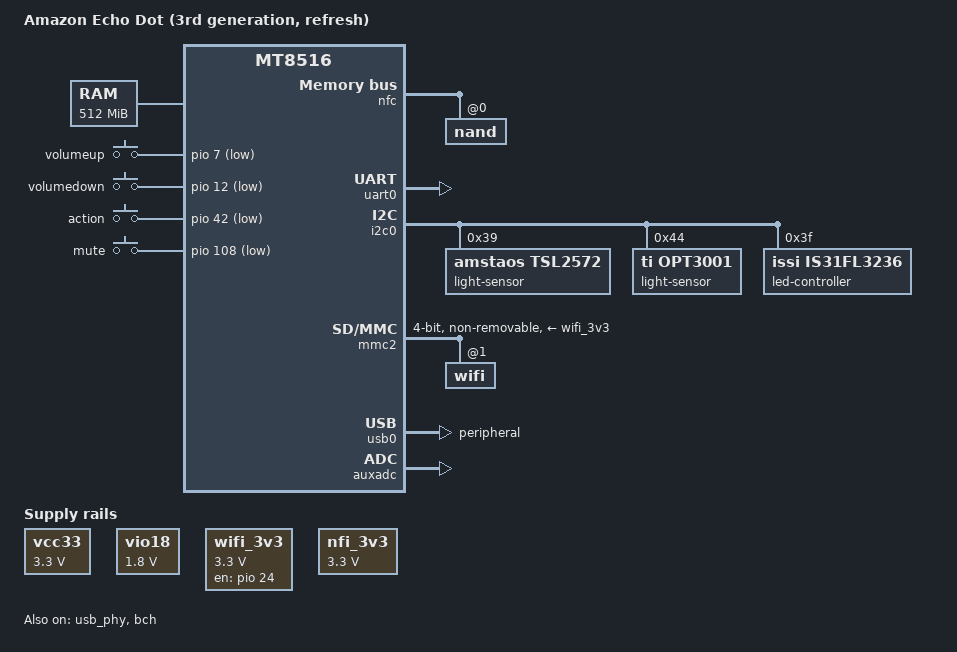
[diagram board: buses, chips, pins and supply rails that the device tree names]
// SPDX-License-Identifier: (GPL-2.0 OR MIT)
/*
 * Amazon Echo Dot (3rd generation, refresh), codename "crumpet".
 *
 * Structurally modeled on the donut and lidar board files of the same
 * MT8516 boot family (the audio section lives in
 * mt8516-amazon-crumpet-audio.dtsi, as in those layers); SoC truth comes
 * from the shared mt8516.dtsi of the v7.3 base, which already carries the
 * AFE node and the MSDC2 clock fix.  Board truth is the DTB the retail
 * unit boots, decompiled at probe-out/crumpet-dtb/crumpet-mp-prq.dts
 * (in-repo copy: reference/crumpet-mp-prq-stock.dts), with the NAND
 * clock wiring from reference/crumpet-nfi-register-map.md §5 and the
 * audio graph from reference/crumpet-audio-forensics.md §2-§4 and
 * reference/crumpet-codec-deltas.md.
 *
 * Storage: this board boots from raw NAND (Macronix MX30LF4G28AD, 4 GiB,
 * 4096+256 B/page) driven by the NFI controller at 0x11001000 plus the
 * ECC block at 0x11002000; there is no eMMC (stock mmc@11120000 is
 * disabled and the pads are reused by the NAND bus).
 *
 * Power: no MT6392 PMIC consumers are described (stock pwrap is
 * disabled, same as donut/lidar); every modeled rail is fixed.  The
 * Vproc buck (Richtek RT5738L on i2c1) has no mainline binding and no
 * proc-supply is wired (donut precedent, M0/C4 evidence may add one).
 */

/dts-v1/;

#include <dt-bindings/gpio/gpio.h>
#include <dt-bindings/input/input.h>
#include "mt8516.dtsi"

/ {
	model = "Amazon Echo Dot (3rd generation, refresh)";
	/*
	 * Root compatible mirrors the stock DTB exactly
	 * (crumpet-mp-prq.dts:5); Amazon LK only hands the kernel a DTB
	 * whose first compatible matches the board revision
	 * ("amzn,crumpet-mp-prq" on retail MP/PRQ units).
	 */
	compatible = "amzn,crumpet-mp-prq", "amzn,crumpet", "mediatek,mt8516";
	chassis-type = "embedded";

	aliases {
		serial0 = &uart0;
		/* the SDIO function of the WiFi combo is the only MMC user */
		mmc0 = &mmc2;
	};

	chosen {
		stdout-path = "serial0:921600n8";
		/* stock bootargs: console=ttyS0,921600n1 (crumpet-mp-prq.dts:2276);
		 * the bootloader passes the real command line
		 */
	};

	memory@40000000 {
		device_type = "memory";
		/* 512 MB as in the stock DTB (crumpet-mp-prq.dts:2270-2273) */
		reg = <0 0x40000000 0 0x20000000>;
	};

	/*
	 * Previous boot's console and oops log (pstore).  Same window
	 * layout as donut: mainline U-Boot loads kernel, DTB and
	 * initramfs into 0x44000000-0x56000000 (the vendor crash area at
	 * 0x44400000 lives inside it, crumpet-mp-prq.dts:152-178), LK
	 * relocates itself to the top of RAM on a warm reboot, and 16 MiB
	 * are left as headroom there.  The BL31 reservation at 0x43000000
	 * comes from mt8516.dtsi.
	 */
	reserved-memory {
		#address-cells = <2>;
		#size-cells = <2>;
		ranges;

		ramoops@5f000000 {
			compatible = "ramoops";
			reg = <0 0x5f000000 0 0x100000>;
			record-size = <0x20000>;
			console-size = <0x80000>;
			pmsg-size = <0x20000>;
		};
	};

	/*
	 * Amazon's BL31 does not give the kernel access to the PMU
	 * registers, so the armv8_pmu probe hangs (same firmware as
	 * donut/lidar; stock pmu node at crumpet-mp-prq.dts:180-184).
	 */
	pmu {
		status = "disabled";
	};

	vcc33: regulator-vcc33 {
		compatible = "regulator-fixed";
		regulator-name = "vcc33";
		regulator-min-microvolt = <3300000>;
		regulator-max-microvolt = <3300000>;
		regulator-always-on;
		regulator-boot-on;
	};

	vio18: regulator-vio18 {
		compatible = "regulator-fixed";
		regulator-name = "vio18";
		regulator-min-microvolt = <1800000>;
		regulator-max-microvolt = <1800000>;
		regulator-always-on;
		regulator-boot-on;
	};

	/*
	 * MT7668 Wi-Fi/BT combo power: PMU_EN on GPIO24.  The stock DTB
	 * drives the fixed regulator sdio_fixed_3v3 from pio 24 with a
	 * 500 ms startup delay (crumpet-mp-prq.dts:2299-2308) and the
	 * vendor sdio node repeats the line as mt76x8_pmu_en_gpio
	 * (:1628-1643); GPIO24 is the only mainline consumer of PMU_EN.
	 * The vendor connectivity-combo node (:2404-2430) additionally
	 * names pio 48 (PMU_EN2) for the 4.4-only consys framework, which
	 * has no mainline equivalent - same wiring situation as donut.
	 */
	wifi_3v3: regulator-wifi-3v3 {
		compatible = "regulator-fixed";
		regulator-name = "wifi_3v3";
		regulator-min-microvolt = <3300000>;
		regulator-max-microvolt = <3300000>;
		gpio = <&pio 24 GPIO_ACTIVE_HIGH>;
		enable-active-high;
		startup-delay-us = <500000>;
		/* vendor driver holds PMU_EN low 5 ms when resetting the chip */
		off-on-delay-us = <5000>;
		pinctrl-names = "default";
		pinctrl-0 = <&wifi_pmu_en_pins>;
	};

	/*
	 * NAND flash supply, fixed 3.3 V "nfi_power" of the stock DTB
	 * (crumpet-mp-prq.dts:2217-2224); the vcc-supply consumer below
	 * is the stock nfc@ node's own reference (:1281).
	 */
	nfi_3v3: regulator-nfi-3v3 {
		compatible = "regulator-fixed";
		regulator-name = "nfi_power";
		regulator-min-microvolt = <3300000>;
		regulator-max-microvolt = <3300000>;
		regulator-boot-on;
	};

	gpio-keys {
		compatible = "gpio-keys";
		pinctrl-names = "default";
		pinctrl-0 = <&gpio_keys_pins>, <&board_hog_pins>;

		key-volume-up {
			label = "volumeup";
			gpios = <&pio 7 GPIO_ACTIVE_LOW>;
			linux,code = <KEY_VOLUMEUP>;
			debounce-interval = <50>;
			wakeup-source;
		};

		key-volume-down {
			label = "volumedown";
			gpios = <&pio 12 GPIO_ACTIVE_LOW>;
			linux,code = <KEY_VOLUMEDOWN>;
			debounce-interval = <50>;
			wakeup-source;
		};

		key-action {
			label = "action";
			gpios = <&pio 42 GPIO_ACTIVE_LOW>;
			/* as stock: KEY_HELP (0x8a = 138) */
			linux,code = <KEY_HELP>;
			debounce-interval = <50>;
			wakeup-source;
		};

		/*
		 * The microphone mute button drives a hardware latch that
		 * cuts the microphones; software can only observe it.  On
		 * this board the latched state sits on GPIO108 (stock
		 * gpio-privacy state-gpios, crumpet-mp-prq.dts:2433; donut
		 * used GPIO18 for the same role) and the vendor emits code
		 * 113 (KEY_MUTE, debounce 200 ms) when it changes
		 * (:2435-2440).  GPIO107 (active low, stock enable-gpio
		 * :2434) would let software force privacy mode on; it is
		 * kept released (driven high, see board_hog_pins) and there
		 * is deliberately no path that models an unmute: only the
		 * button unlatches.
		 */
		key-mute {
			label = "mute";
			gpios = <&pio 108 GPIO_ACTIVE_LOW>;
			linux,code = <KEY_MUTE>;
			debounce-interval = <200>;
			wakeup-source;
		};
	};
};

&pio {
	/*
	 * Board-level line defaults applied through the gpio-keys and LED
	 * controller pinctrl states; the lines stay unclaimed afterwards.
	 */
	board_hog_pins: board-hog-pins {
		pins-privacy-enable {
			/*
			 * GPIO107 (active low) lets software force privacy
			 * mode on; keep it released so the latch is only
			 * ever driven by the mute button.
			 */
			pinmux = <MT8516_PIN_107_MSDC1_DAT1__FUNC_GPIO107>;
			output-high;
		};
	};

	led_sdb_pins: led-sdb-pins {
		pins-led-sdb {
			/* IS31FL3236 SDB: low = hardware shutdown */
			pinmux = <MT8516_PIN_4_EINT4__FUNC_GPIO4>;
			output-high;
		};
	};

	gpio_keys_pins: gpio-keys-pins {
		pins-keys {
			/*
			 * Volume and action buttons; stock gpiodefault
			 * (crumpet-mp-prq.dts:483-491) muxed pins 7 and 12
			 * with R1R0_01 pulls - pin 42 (action) was left at
			 * its reset default there and is muxed explicitly
			 * here.
			 */
			pinmux = <MT8516_PIN_7_EINT7__FUNC_GPIO7>,
				 <MT8516_PIN_12_EINT12__FUNC_GPIO12>,
				 <MT8516_PIN_42_KPCOL0__FUNC_GPIO42>;
			bias-pull-up = <MTK_PUPD_SET_R1R0_01>;
			input-enable;
		};

		pins-mute-latch {
			pinmux = <MT8516_PIN_108_MSDC1_DAT2__FUNC_GPIO108>;
			bias-disable;
			input-enable;
		};
	};

	i2c0_pins: i2c0-pins {
		pins-bus {
			pinmux = <MT8516_PIN_58_SDA0__FUNC_SDA0_0>,
				 <MT8516_PIN_59_SCL0__FUNC_SCL0_0>;
			bias-disable;
		};
	};

	i2c2_pins: i2c2-pins {
		pins-bus {
			pinmux = <MT8516_PIN_60_SDA2__FUNC_SDA2_0>,
				 <MT8516_PIN_61_SCL2__FUNC_SCL2_0>;
			bias-disable;
		};
	};

	/*
	 * Raw NAND bus, the stock nfidefault group
	 * (crumpet-mp-prq.dts:611-640): 8-bit data on NLD0..NLD7 (the
	 * MSDC0 pads - no eMMC on this board), latches on NALE/NCLE,
	 * writes/reads on NWEB/NREB, chip enable NCEB0 and ready/busy
	 * NRNB on the EINT pins.  Drive strength 4 and the stock pull
	 * selection are kept verbatim.
	 */
	nfi_pins: nfi-pins {
		pins-dat {
			pinmux = <MT8516_PIN_110_MSDC0_DAT7__FUNC_NLD7>,
				 <MT8516_PIN_111_MSDC0_DAT6__FUNC_NLD6>,
				 <MT8516_PIN_112_MSDC0_DAT5__FUNC_NLD4>,
				 <MT8516_PIN_113_MSDC0_DAT4__FUNC_NLD3>,
				 <MT8516_PIN_114_MSDC0_RSTB__FUNC_NLD0>,
				 <MT8516_PIN_117_MSDC0_DAT3__FUNC_NLD1>,
				 <MT8516_PIN_118_MSDC0_DAT2__FUNC_NLD5>,
				 <MT8516_PIN_120_MSDC0_DAT0__FUNC_NLD2>;
			input-enable;
			drive-strength = <4>;
			bias-pull-up;
		};

		pins-cmd {
			pinmux = <MT8516_PIN_16_EINT16__FUNC_NCEB0>,
				 <MT8516_PIN_17_EINT17__FUNC_NREB>,
				 <MT8516_PIN_21_EINT21__FUNC_NRNB>,
				 <MT8516_PIN_116_MSDC0_CLK__FUNC_NWEB>;
			drive-strength = <4>;
			bias-pull-up = <MTK_PUPD_SET_R1R0_10>;
		};

		pins-ale-cle {
			pinmux = <MT8516_PIN_14_EINT14__FUNC_NCLE>,
				 <MT8516_PIN_115_MSDC0_CMD__FUNC_NALE>;
			drive-strength = <4>;
			bias-pull-down = <MTK_PUPD_SET_R1R0_10>;
		};
	};

	mmc2_pins_default: mmc2-default-pins {
		pins-cmd-dat {
			pinmux = <MT8516_PIN_70_MSDC2_DAT0__FUNC_MSDC2_DAT0>,
				 <MT8516_PIN_71_MSDC2_DAT1__FUNC_MSDC2_DAT1>,
				 <MT8516_PIN_72_MSDC2_DAT2__FUNC_MSDC2_DAT2>,
				 <MT8516_PIN_73_MSDC2_DAT3__FUNC_MSDC2_DAT3>,
				 <MT8516_PIN_68_MSDC2_CMD__FUNC_MSDC2_CMD>;
			input-enable;
			drive-strength = <8>;
			bias-pull-up = <MTK_PUPD_SET_R1R0_10>;
		};

		pins-clk {
			pinmux = <MT8516_PIN_69_MSDC2_CLK__FUNC_MSDC2_CLK>;
			drive-strength = <8>;
			bias-pull-down = <MTK_PUPD_SET_R1R0_10>;
		};
	};

	uart0_pins: uart0-pins {
		pins-rx {
			pinmux = <MT8516_PIN_62_URXD0__FUNC_URXD0>;
			bias-pull-up;
		};

		pins-tx {
			pinmux = <MT8516_PIN_63_UTXD0__FUNC_UTXD0>;
		};
	};

	wifi_pmu_en_pins: wifi-pmu-en-pins {
		pins-pmu-en {
			pinmux = <MT8516_PIN_24_EINT24__FUNC_GPIO24>;
			bias-disable;
		};
	};
};

&{/soc} {
	/*
	 * Raw NAND controller (NFI) and its ECC engine, the stock pair
	 * nfc@11001000 / ecc@11002000 (crumpet-mp-prq.dts:1268-1297;
	 * the legacy 19-clock nfi@/nfiecc@ nodes :1252-1266 are disabled
	 * in the stock DTB and are not translated).  Compatibles follow
	 * the vendor DTB strings so one DTB serves both worlds; the
	 * mt8167 variant behind them is Task 5's
	 * mtk_nand.c/ecc-mtk.c extension.
	 *
	 * Clock wiring per reference/crumpet-nfi-register-map.md §5: the
	 * functional clock is the CLK_TOP_NFI gate, the pad clock is the
	 * nfi1x_pad_sel mux (the 1x pad clock; the vendor node's
	 * "pad_clk" id 0x48), and the ECC block takes the CLK_TOP_NFIECC
	 * gate ("nfiecc_clk", vendor id 0x49).
	 */
	nfc: nand-controller@11001000 {
		compatible = "mediatek,mt8167-nfc";
		reg = <0 0x11001000 0 0x1000>;
		interrupts = <GIC_SPI 87 IRQ_TYPE_LEVEL_LOW>;
		clocks = <&topckgen CLK_TOP_NFI>,
			 <&topckgen CLK_TOP_NFI1X_PAD_SEL>;
		clock-names = "nfi_clk", "pad_clk";
		ecc-engine = <&bch>;
		#address-cells = <1>;
		#size-cells = <0>;
		pinctrl-names = "default";
		pinctrl-0 = <&nfi_pins>;
		vcc-supply = <&nfi_3v3>;
		status = "okay";

		nand@0 {
			reg = <0>;

			/*
			 * Operating point of the MX30LF4G28AD layout:
			 * 4 sectors of 1024 B per 4352 B page, BCH t=32,
			 * 64 B spare per sector
			 * (crumpet-nfi-register-map.md §1/§4; real-dump
			 * derived, dump-confirmed at C2).
			 */
			nand-ecc-mode = "hw";
			nand-ecc-step-size = <1024>;
			nand-ecc-strength = <32>;

			/*
			 * DELIBERATELY no on-flash BBT property here: the
			 * shipped DTB sets it (crumpet-mp-prq.dts:1284) and a
			 * vendor-format BBT exists on flash, but mainline
			 * attach with it would write a new-format BBT.
			 * First boot uses the in-RAM BBT (zero writes);
			 * on-flash BBT is re-enabled only after the Linux
			 * reformat is blessed (design §5.1, plan gate:
			 * zero occurrences of that property in source and
			 * decompiled DTB).
			 */
		};
	};

	bch: ecc@11002000 {
		compatible = "mediatek,mt8167-ecc";
		reg = <0 0x11002000 0 0x1000>;
		interrupts = <GIC_SPI 86 IRQ_TYPE_LEVEL_LOW>;
		clocks = <&topckgen CLK_TOP_NFIECC>;
		clock-names = "nfiecc_clk";
		status = "okay";
	};
};

/* Debug console, 921600 8N1 (stock bootargs 921600n1) */
&uart0 {
	pinctrl-names = "default";
	pinctrl-0 = <&uart0_pins>;
	status = "okay";
};

&i2c0 {
	pinctrl-names = "default";
	pinctrl-0 = <&i2c0_pins>;
	status = "okay";

	/*
	 * Light sensor behind the top grille; the stock tree names it
	 * "tsl2572" (stock DTB i2c0 0x39, crumpet-mp-prq.dts:1380-1391);
	 * TSL2572 devices are covered by the mainline tsl2772 driver.
	 */
	light-sensor@39 {
		compatible = "amstaos,tsl2572";
		reg = <0x39>;
	};

	/*
	 * Second light sensor, stock opt3001@44
	 * (crumpet-mp-prq.dts:1417-1420); mainline IIO opt3001 driver.
	 */
	light-sensor@44 {
		compatible = "ti,opt3001";
		reg = <0x44>;
	};

	/*
	 * LED ring, 12 RGB LEDs on 36 channels at 0x3f, the same
	 * controller as donut (stock is31fl3236@3f,
	 * crumpet-mp-prq.dts:1407-1416: channel-offset 3, 25 kHz PWM,
	 * SDB on GPIO4).  The vendor driver maps ring slot i to channel
	 * (i + 3) % 36 (channel-offset = 3), so ring1 starts at reg 4 and
	 * wraps around at ring12 (reg 1-3).  Mainline's plain is31fl3236
	 * path has no PWM-frequency register (only the -A variant does),
	 * so the ring runs at the chip power-on default until that is
	 * revisited.
	 */
	led-controller@3f {
		compatible = "issi,is31fl3236";
		pinctrl-names = "default";
		pinctrl-0 = <&led_sdb_pins>;
		reg = <0x3f>;
		#address-cells = <1>;
		#size-cells = <0>;

		led@1 { reg = <1>; label = "ring12:red"; };
		led@2 { reg = <2>; label = "ring12:green"; };
		led@3 { reg = <3>; label = "ring12:blue"; };
		led@4 { reg = <4>; label = "ring1:red"; };
		led@5 { reg = <5>; label = "ring1:green"; };
		led@6 { reg = <6>; label = "ring1:blue"; };
		led@7 { reg = <7>; label = "ring2:red"; };
		led@8 { reg = <8>; label = "ring2:green"; };
		led@9 { reg = <9>; label = "ring2:blue"; };
		led@a { reg = <10>; label = "ring3:red"; };
		led@b { reg = <11>; label = "ring3:green"; };
		led@c { reg = <12>; label = "ring3:blue"; };
		led@d { reg = <13>; label = "ring4:red"; };
		led@e { reg = <14>; label = "ring4:green"; };
		led@f { reg = <15>; label = "ring4:blue"; };
		led@10 { reg = <16>; label = "ring5:red"; };
		led@11 { reg = <17>; label = "ring5:green"; };
		led@12 { reg = <18>; label = "ring5:blue"; };
		led@13 { reg = <19>; label = "ring6:red"; };
		led@14 { reg = <20>; label = "ring6:green"; };
		led@15 { reg = <21>; label = "ring6:blue"; };
		led@16 { reg = <22>; label = "ring7:red"; };
		led@17 { reg = <23>; label = "ring7:green"; };
		led@18 { reg = <24>; label = "ring7:blue"; };
		led@19 { reg = <25>; label = "ring8:red"; };
		led@1a { reg = <26>; label = "ring8:green"; };
		led@1b { reg = <27>; label = "ring8:blue"; };
		led@1c { reg = <28>; label = "ring9:red"; };
		led@1d { reg = <29>; label = "ring9:green"; };
		led@1e { reg = <30>; label = "ring9:blue"; };
		led@1f { reg = <31>; label = "ring10:red"; };
		led@20 { reg = <32>; label = "ring10:green"; };
		led@21 { reg = <33>; label = "ring10:blue"; };
		led@22 { reg = <34>; label = "ring11:red"; };
		led@23 { reg = <35>; label = "ring11:green"; };
		led@24 { reg = <36>; label = "ring11:blue"; };
	};
};

/*
 * MediaTek MT7668 Wi-Fi/Bluetooth combo, SDIO 3.0 (stock
 * sdio@11170000, crumpet-mp-prq.dts:1616-1644).
 */
&mmc2 {
	pinctrl-names = "default", "state_uhs";
	pinctrl-0 = <&mmc2_pins_default>;
	pinctrl-1 = <&mmc2_pins_default>;
	bus-width = <4>;
	max-frequency = <200000000>;
	cap-sd-highspeed;
	sd-uhs-sdr50;
	sd-uhs-sdr104;
	cap-sdio-irq;
	keep-power-in-suspend;
	wakeup-source;
	non-removable;
	vmmc-supply = <&wifi_3v3>;
	/* MSDC2 pads are fixed 1.8 V; stock describes no vqmmc */
	no-sd;
	no-mmc;
	#address-cells = <1>;
	#size-cells = <0>;
	status = "okay";

	/*
	 * SDIO function 1 = WLAN (wlan_mt76x8_sdio), function 2 =
	 * Bluetooth (btmtksdio); neither needs a child node.
	 */
	wifi: wifi@1 {
		reg = <1>;
	};

	/*
	 * MAC PLACEHOLDER ONLY - never a literal address here.  The
	 * per-unit WiFi MAC is baked into the DTB at flash time from the
	 * chip-off dump's idme_nand (design §5.3, builder-check #6);
	 * this source file carries no MAC value and the flash tooling
	 * owns the injection.
	 */
};

/*
 * USB pads on the stock device-only port (stock usb@11100000 mode 2,
 * drvvbus-not-supported, crumpet-mp-prq.dts:1522-1541); the ID pin on
 * GPIO41 (stock iddig_gpio) has no mainline consumer and stays
 * unmuxed.
 */
&usb0 {
	dr_mode = "peripheral";
	status = "okay";
};

&usb_phy {
	status = "okay";
};

/*
 * The stock auxadc node feeds the vendor thermistor framework
 * (channels 12/13/14, crumpet-mp-prq.dts:2454-2488); the ADC itself is
 * plain mainline hardware and useful for bring-up probes.
 */
&auxadc {
	status = "okay";
};

/*
 * The PSCI CPU and cluster idle states need the MediaTek SPM firmware,
 * which mainline does not load (same firmware situation as donut/lidar);
 * a CPU entering those states never returns.
 */
&cpu0 {
	/delete-property/ cpu-idle-states;
};

&cpu1 {
	/delete-property/ cpu-idle-states;
};

&cpu2 {
	/delete-property/ cpu-idle-states;
};

&cpu3 {
	/delete-property/ cpu-idle-states;
};

/*
 * Vendor-only nodes deliberately not translated (kept for C4/M0
 * reference; stock line numbers in parentheses):
 *
 *  - i2c1 0x57 "rt5738l"/"rt5748": Vproc buck (crumpet-mp-prq.dts:1436-
 *    1451).  No mainline binding for the L part; the CPUs run without a
 *    proc-supply until M0/C4 evidence justifies one (donut precedent).
 *    i2c1 itself is therefore left disabled.
 *  - i2c0 0x63 mediatek,strobe_main (:1392-1395): no mainline consumer.
 *  - ethernet@11180000 (RMII, disabled in stock too, :2324-2337) and
 *    its eth_power rail / pin group: no board connector; the base
 *    mt8516.dtsi keeps the controller node disabled.  Any future use
 *    bakes the per-unit MAC in at flash time like the WiFi MAC above -
 *    this file carries no MAC literals.
 *  - mt8167-irrx (:1044-1051), pwm@11008000 + pwmdefault pin 54
 *    (:1356-1367, :428-434), keypad@10002000 (:1023-1029, disabled in
 *    stock - the buttons are GPIO keys, see gpio-keys above),
 *    disp_pwm0, usb11@11190000, mmc@11120000 / mmc@11130000 (no eMMC,
 *    no SD slot - storage is raw NAND): peripherals without mainline
 *    consumers or absent hardware.
 *  - TPS2547 USB charge-controller GPIO states (tps2547-* groups,
 *    :890-967): no mainline driver on this board.
 *  - btcvsd@10001000 + mt_soc_btcvsd_rx/tx_pcm (:247-265): vendor BT
 *    CVSD offload; mainline BT SCO goes through btmtksdio (forensics
 *    §4, C4 validates).
 *  - mediatek,connectivity-combo consys node (:2404-2430): 4.4-only
 *    framework (see the wifi_3v3 comment for GPIO24/GPIO48).
 *  - gpio-privacy driver node (:2431-2444): replaced by the key-mute
 *    GPIO key + board hog above.
 *  - amazon,virtual_sensor_thermistor (therm1/therm3, auxadc channels
 *    12/14), amazon,wifi_temp_sensor, skin/case virtual sensors,
 *    amazon,thermal_cooler nodes and thermal-zones (:2454-2710):
 *    4.4-only thermal framework; the auxadc itself is enabled above.
 *  - MTKFB/mmsys/mdp/disp_* ISP/venc/vdec/smi/mtee/consys/wifi@180f0000
 *    and the rest of the vendor display/multimedia stubs: no mainline
 *    consumers on this board.
 *  - ram_console/pstore/minirdump reserved regions at 0x44400000+ and
 *    consys-reserve-memory: replaced by the ramoops node above.
 */

#include "mt8516-amazon-crumpet-audio.dtsi"
